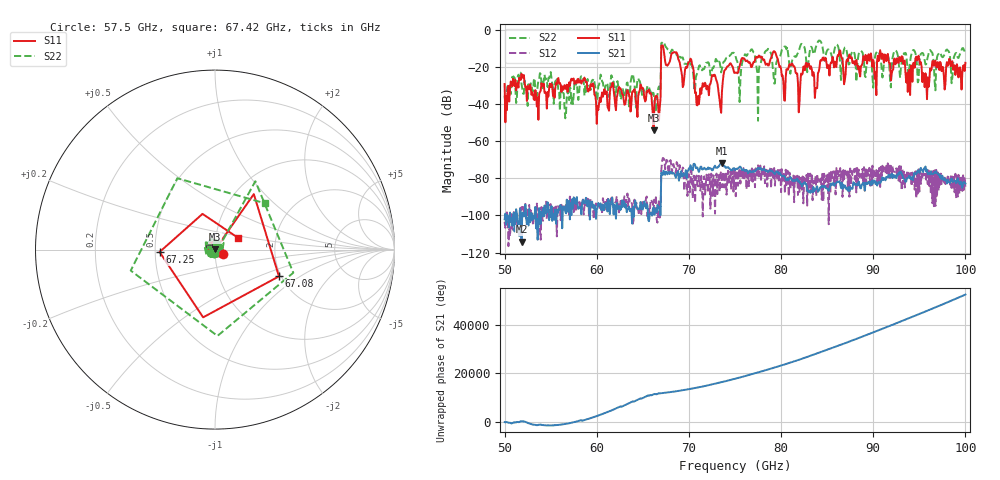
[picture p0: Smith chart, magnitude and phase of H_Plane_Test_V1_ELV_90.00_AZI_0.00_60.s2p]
! 11/27/2026 8:42:01 AM
! C:\ANRITSUVNA\TEMP\TEMP.S2P
! CHANNEL.1
! TR.MEASUREMENT
! RAW.DATA
# HZ S RI R 50.0
! FREQ.HZ  S11RE  S11IM  S21RE  S21IM  S12RE  S12IM  S22RE  S22IM
!; PortSelection: Port_12
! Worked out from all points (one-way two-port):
!   601 points, 50 GHz to 100 GHz, reference 50 ohm
!   highest |S21| = -71.96 dB at 73.58 GHz (marker M1); lowest = -114.1 dB at 51.83 GHz (marker M2)
!   lowest |S11| = -54.1 dB at 66.17 GHz (marker M3), VSWR 1.00, Z = 50.1 + j0.144 ohm
!   |S11| at or under -10 dB: start of sweep to 67 GHz; 67.24 GHz to end of sweep
!   |S22| runs from -48.9 to -5.6 dB; largest |S21 - S12| = 0.00046
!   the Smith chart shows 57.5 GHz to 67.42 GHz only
!   S11 on the Smith chart (normalised r, x): 57.5 GHz: 1.09, -0.05; 67.08 GHz: 1.95, -0.68; 67.25 GHz: 0.53, -0.02; 67.42 GHz: 1.29, +0.17
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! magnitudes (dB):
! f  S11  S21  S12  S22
! 50 GHz  -29.1  -102.0  -103.4  -35.3
! 51.83 GHz  -23.6  -114.1  -95.5  -28.9
! 53.42 GHz  -34.9  -107.0  -101.2  -34.8
! 57.5 GHz  -26.2  -90.2  -99.2  -34.5
! 58.42 GHz  -27.1  -93.0  -92.6  -24.8
! 60.17 GHz  -43.2  -93.3  -94.0  -30.2
! 66.17 GHz  -54.1  -95.6  -97.3  -34.0
! 66.67 GHz  -41.8  -95.2  -95.7  -31.6
! 67.08 GHz  -8.3  -77.3  -70.9  -6.8
! 67.25 GHz  -10.2  -75.9  -69.2  -6.3
! 67.42 GHz  -16.7  -78.1  -75.0  -8.4
! 70.17 GHz  -15.4  -72.9  -82.5  -18.6
! 70.67 GHz  -34.0  -72.6  -93.2  -32.7
! 73.58 GHz  -33.3  -72.0  -84.8  -21.0
! 75 GHz  -23.1  -75.5  -75.1  -13.0
! 77.58 GHz  -13.8  -74.7  -79.0  -21.7
! 78.5 GHz  -18.2  -76.0  -84.4  -10.8
! 79.33 GHz  -11.8  -77.6  -83.9  -28.8
! 80.25 GHz  -28.0  -78.9  -78.6  -9.4
! 83.42 GHz  -24.7  -87.5  -91.8  -10.8
! 91.67 GHz  -16.8  -78.1  -78.8  -15.2
! 100 GHz  -17.7  -82.7  -85.1  -12.5
